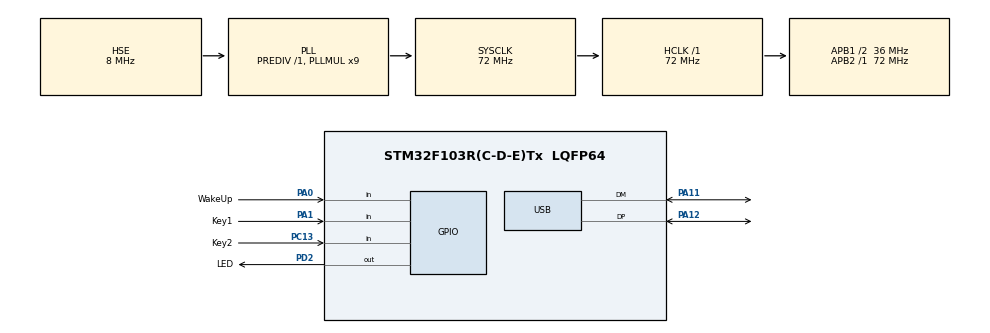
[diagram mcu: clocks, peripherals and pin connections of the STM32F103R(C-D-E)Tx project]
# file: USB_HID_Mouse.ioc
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Mcu.Family=STM32F1
Mcu.Name=STM32F103R(C-D-E)Tx
Mcu.Package=LQFP64
NVIC.PriorityGroup=NVIC_PRIORITYGROUP_4
NVIC.TIM6_IRQn=true\:1\:0\:true\:false\:true\:true\:true\:true
NVIC.USB_LP_CAN1_RX0_IRQn=true\:0\:0\:false\:false\:true\:false\:true\:true
PA0-WKUP.GPIO_Label=WakeUp
PA0-WKUP.GPIO_PuPd=GPIO_PULLDOWN
PA0-WKUP.Signal=GPIO_Input
PA1.GPIO_Label=Key1
PA1.GPIO_PuPd=GPIO_PULLUP
PA1.Signal=GPIO_Input
PA11.Mode=Device
PA11.Signal=USB_DM
PA12.Mode=Device
PA12.Signal=USB_DP
PA13.Mode=Serial_Wire
PA13.Signal=SYS_JTMS-SWDIO
PA14.Mode=Serial_Wire
PA14.Signal=SYS_JTCK-SWCLK
PC13-TAMPER-RTC.GPIO_Label=Key2
PC13-TAMPER-RTC.GPIO_PuPd=GPIO_PULLUP
PC13-TAMPER-RTC.Signal=GPIO_Input
PD0-OSC_IN.Mode=HSE-External-Oscillator
PD0-OSC_IN.Signal=RCC_OSC_IN
PD1-OSC_OUT.Mode=HSE-External-Oscillator
PD1-OSC_OUT.Signal=RCC_OSC_OUT
PD2.GPIO_Label=LED
PD2.GPIO_PuPd=GPIO_PULLUP
PD2.GPIO_Speed=GPIO_SPEED_FREQ_HIGH
PD2.PinState=GPIO_PIN_SET
PD2.Signal=GPIO_Output
ProjectManager.HeapSize=0x200
ProjectManager.StackSize=0x400
ProjectManager.TargetToolchain=MDK-ARM V5.32
RCC.AHBFreq_Value=72000000
RCC.APB1CLKDivider=RCC_HCLK_DIV2
RCC.APB1Freq_Value=36000000
RCC.APB1TimFreq_Value=72000000
RCC.APB2Freq_Value=72000000
RCC.APB2TimFreq_Value=72000000
RCC.HCLKFreq_Value=72000000
RCC.PLLMUL=RCC_PLL_MUL9
RCC.SYSCLKFreq_VALUE=72000000
RCC.SYSCLKSource=RCC_SYSCLKSOURCE_PLLCLK
RCC.USBFreq_Value=48000000
RCC.USBPrescaler=RCC_USBCLKSOURCE_PLL_DIV1_5
TIM6.AutoReloadPreload=TIM_AUTORELOAD_PRELOAD_ENABLE
TIM6.Period=999
TIM6.Prescaler=71
TIM6.TIM_MasterOutputTrigger=TIM_TRGO_RESET
USB_DEVICE.CLASS_NAME_FS=HID
USB_DEVICE.VirtualMode=Hid
USB_DEVICE.VirtualModeFS=Hid_FS
VP_TIM6_VS_ClockSourceINT.Mode=Enable_Timer
VP_USB_DEVICE_VS_USB_DEVICE_HID_FS.Mode=HID_FS
board=custom

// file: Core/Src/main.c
/* USER CODE BEGIN Header */
/**
  ******************************************************************************
  * @file           : main.c
  * @brief          : Main program body
  ******************************************************************************
  * @attention
  *
  * Copyright (c) 2024 STMicroelectronics.
  * All rights reserved.
  *
  * This software is licensed under terms that can be found in the LICENSE file
  * in the root directory of this software component.
  * If no LICENSE file comes with this software, it is provided AS-IS.
  *
  ******************************************************************************
  */
/* USER CODE END Header */
#include "main.h"
#include "tim.h"
#include "usb_device.h"
#include "gpio.h"

/* USER CODE BEGIN Includes */
#include "usbd_hid.h"
#include "string.h"
#include "key.h"
/* USER CODE END Includes */

/* USER CODE BEGIN PV */
extern USBD_HandleTypeDef hUsbDeviceFS;
/*
 * buffer[0] - bit0: Left button 左键
 *             bit1: Right button 右键
 *             bit2: Middle button 中键
 * buffer[1] - Cursor movement X axis 水平移动
 * buffer[2] - Cursor movement Y axis 垂直移动
 * buffer[3] - Wheel vertical movement 滚轮转动
 */
uint8_t HidMouseBuf[4];
/* USER CODE END PV */

void SystemClock_Config(void);

/* USER CODE BEGIN 0 */

void HAL_TIM_PeriodElapsedCallback(TIM_HandleTypeDef *htim)
{
  static __IO uint16_t cnt  = 0;
	if(htim == &htim6)
  {
    if(++cnt == 20)
    {
      cnt = 0;
      key_scan();
    }
  }
}

/* USER CODE END 0 */

int main(void)
{

  /* MCU Configuration--------------------------------------------------------*/

  /* Reset of all peripherals, Initializes the Flash interface and the Systick. */
  HAL_Init();

  /* Configure the system clock */
  SystemClock_Config();

  /* Initialize all configured peripherals */
  MX_GPIO_Init();
  MX_USB_DEVICE_Init();
  MX_TIM6_Init();
  /* USER CODE BEGIN 2 */
  key_init();
  /* USER CODE END 2 */

  /* Infinite loop */
  while (1)
  {

    /* USER CODE BEGIN 3 */
    HAL_Delay(USBD_HID_GetPollingInterval(&hUsbDeviceFS));
    memset(&HidMouseBuf, 0, sizeof(HidMouseBuf));
    switch(Key_Val)
    {
      case Key_Enter:
      HidMouseBuf[0] = 0x01;  //鼠标左键按下
//      HidMouseBuf[3] -= 5;  //滚轮下移
      break;

      case Key_Up:
      HidMouseBuf[1] -= 50; //鼠标左移
      break;

      case Key_Down:
      HidMouseBuf[2] += 50; //鼠标右移
      break;
    }

    if(Key_Val != Key_None)
    {
     HAL_GPIO_WritePin(LED_GPIO_Port, LED_Pin, GPIO_PIN_RESET);
     HAL_Delay(100);
     HAL_GPIO_WritePin(LED_GPIO_Port, LED_Pin, GPIO_PIN_SET);
     Key_Val = Key_None;

    }

    USBD_HID_SendReport(&hUsbDeviceFS, HidMouseBuf, sizeof(HidMouseBuf));
  }
  /* USER CODE END 3 */
}

void SystemClock_Config(void)
{
  RCC_OscInitTypeDef RCC_OscInitStruct = {0};
  RCC_ClkInitTypeDef RCC_ClkInitStruct = {0};
  RCC_PeriphCLKInitTypeDef PeriphClkInit = {0};

  /** Initializes the RCC Oscillators according to the specified parameters
  * in the RCC_OscInitTypeDef structure.
  */
  RCC_OscInitStruct.OscillatorType = RCC_OSCILLATORTYPE_HSE;
  RCC_OscInitStruct.HSEState = RCC_HSE_ON;
  RCC_OscInitStruct.HSEPredivValue = RCC_HSE_PREDIV_DIV1;
  RCC_OscInitStruct.HSIState = RCC_HSI_ON;
  RCC_OscInitStruct.PLL.PLLState = RCC_PLL_ON;
  RCC_OscInitStruct.PLL.PLLSource = RCC_PLLSOURCE_HSE;
  RCC_OscInitStruct.PLL.PLLMUL = RCC_PLL_MUL9;
  if (HAL_RCC_OscConfig(&RCC_OscInitStruct) != HAL_OK)
  {
    Error_Handler();
  }

  /** Initializes the CPU, AHB and APB buses clocks
  */
  RCC_ClkInitStruct.ClockType = RCC_CLOCKTYPE_HCLK|RCC_CLOCKTYPE_SYSCLK
                              |RCC_CLOCKTYPE_PCLK1|RCC_CLOCKTYPE_PCLK2;
  RCC_ClkInitStruct.SYSCLKSource = RCC_SYSCLKSOURCE_PLLCLK;
  RCC_ClkInitStruct.AHBCLKDivider = RCC_SYSCLK_DIV1;
  RCC_ClkInitStruct.APB1CLKDivider = RCC_HCLK_DIV2;
  RCC_ClkInitStruct.APB2CLKDivider = RCC_HCLK_DIV1;

  if (HAL_RCC_ClockConfig(&RCC_ClkInitStruct, FLASH_LATENCY_2) != HAL_OK)
  {
    Error_Handler();
  }
  PeriphClkInit.PeriphClockSelection = RCC_PERIPHCLK_USB;
  PeriphClkInit.UsbClockSelection = RCC_USBCLKSOURCE_PLL_DIV1_5;
  if (HAL_RCCEx_PeriphCLKConfig(&PeriphClkInit) != HAL_OK)
  {
    Error_Handler();
  }
}

void Error_Handler(void)
{
  __disable_irq();
  while (1)
  {
  }
}
